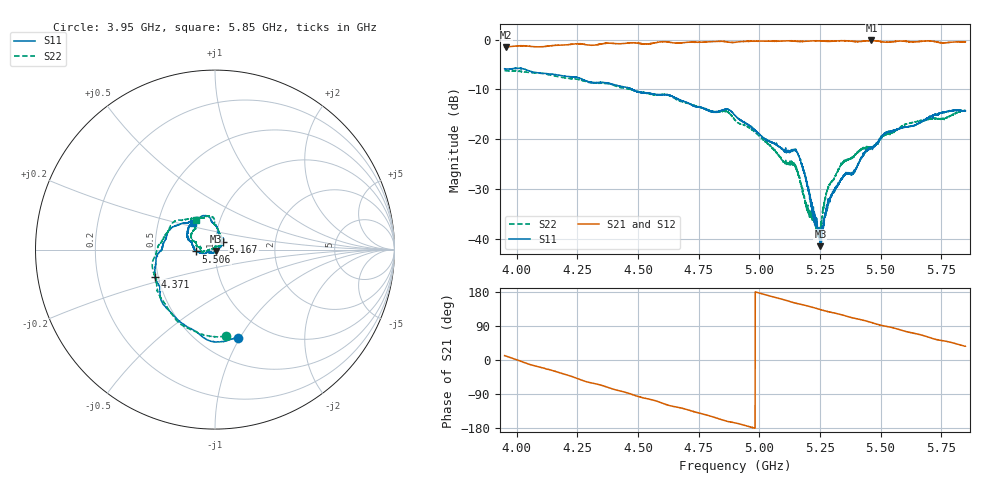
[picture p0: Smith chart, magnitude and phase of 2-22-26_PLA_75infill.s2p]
# GHZ S RI R 50.000000000000
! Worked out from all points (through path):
!   4501 points, 3.95 GHz to 5.85 GHz, reference 50 ohm
!   highest |S21| = -0.18 dB at 5.463 GHz (marker M1); lowest = -1.5 dB at 3.954 GHz (marker M2)
!   group delay of S21, straight-line fit = 486 ps
!   lowest |S11| = -41.5 dB at 5.252 GHz (marker M3), VSWR 1.02, Z = 50.4 - j0.766 ohm
!   |S11| at or under -10 dB: 4.475267 GHz to 4.475811 GHz (543.6 kHz wide, 0.0121 % of centre); 4.476347 GHz to 4.476845 GHz (498 kHz wide, 0.0111 % of centre); 4.477 GHz to end of sweep
!   |S22| runs from -39.6 to -6.2 dB; largest |S21 - S12| = 0.038
!   S11 on the Smith chart (normalised r, x): 3.95 GHz: 0.74, -0.98; 4.371 GHz: 0.48, -0.17; 5.167 GHz: 1.09, +0.09; 5.506 GHz: 0.81, -0.02; 5.85 GHz: 0.75, +0.23
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3.95  0.1298 -0.4915  0.8227 0.1677  0.811 0.1691  0.0591 -0.4837
3.9538  0.1187 -0.4912  0.8222 0.1583  0.8113 0.1628  0.0478 -0.4831
4.044578  -0.0683 -0.4865  0.8473 -0.1473  0.8603 -0.1329  -0.1104 -0.4554
4.267089  -0.305 -0.263  0.5478 -0.7208  0.5614 -0.7216  -0.322 -0.2203
4.371378  -0.3345 -0.1523  0.2962 -0.8715  0.3064 -0.8517  -0.3498 -0.0922
4.471444  -0.3193 -0.0255  0.00217 -0.9289  0.0103 -0.9367  -0.3144 0.0235
4.583756  -0.2732 0.0624  -0.3217 -0.8836  -0.3008 -0.8838  -0.2545 0.114
4.725622  -0.1594 0.1478  -0.6729 -0.6618  -0.6638 -0.6606  -0.1359 0.1722
4.9  -0.0248 0.171  -0.9105 -0.2302  -0.9099 -0.2362  -0.0018 0.155
5.011044  0.0188 0.1046  -0.9612 0.0904  -0.9606 0.0722  0.0223 0.0994
5.139822  0.039 0.0674  -0.8495 0.4561  -0.8598 0.4457  0.0376 0.0429
5.167267  0.0449 0.0429  -0.8094 0.5139  -0.8123 0.5055  0.0299 0.0243
5.217089  0.0211 0.00981  -0.7373 0.6294  -0.7479 0.6111  0.000903 0.016
5.242  0.011 -0.00259  -0.684 0.686  -0.6993 0.6689  -0.00765 0.00841
5.252133  0.0037 -0.0076  -0.6588 0.7118  -0.6784 0.6926  -0.0121 0.00365
5.282533  -0.0138 -0.0168  -0.5862 0.7587  -0.6055 0.7523  -0.032 -0.000393
5.338267  -0.0363 -0.0157  -0.4814 0.848  -0.4833 0.8455  -0.0551 -0.00773
5.462822  -0.0829 -0.0132  -0.1504 0.9683  -0.1759 0.9624  -0.0811 0.0119
5.505889  -0.1048 -0.0102  -0.019 0.9493  -0.034 0.9554  -0.1036 0.0249
5.533756  -0.1188 0.00892  0.0397 0.9411  0.0263 0.9435  -0.1058 0.0407
5.685333  -0.1452 0.0572  0.4439 0.863  0.4214 0.8698  -0.1325 0.0832
5.85  -0.1237 0.1473  0.7645 0.5599  0.755 0.573  -0.1035 0.1657
